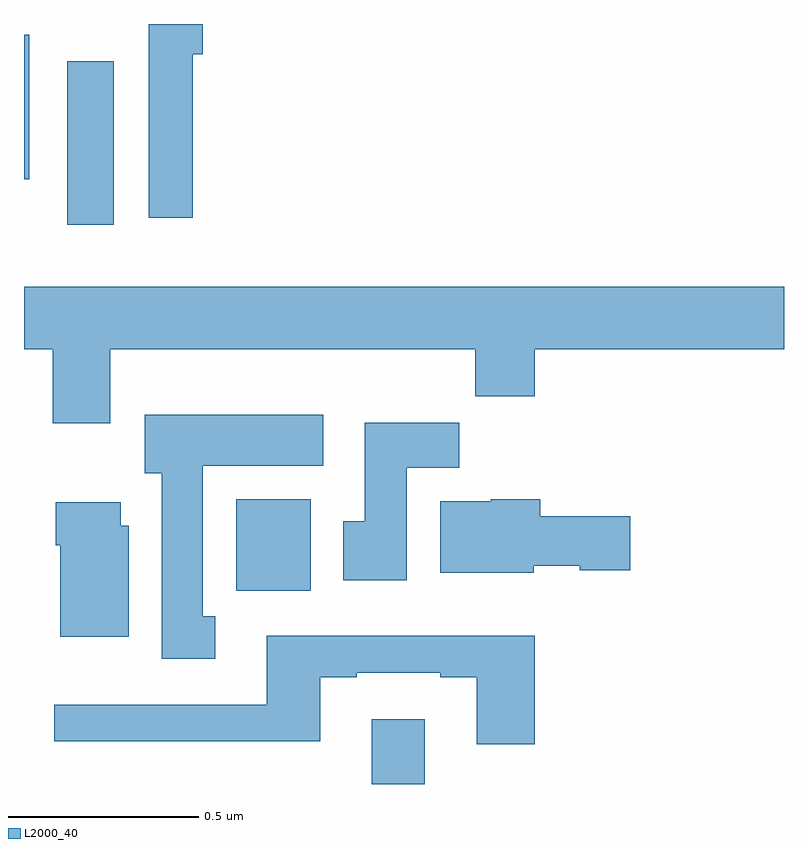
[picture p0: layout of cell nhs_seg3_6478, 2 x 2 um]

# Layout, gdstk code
import gdstk
lib = gdstk.Library(unit=1e-6, precision=1e-09)
def R(c, l, rs):  # rectangles x0, y0, x1, y1
    for r in rs: c.add(gdstk.rectangle(r[:2], r[2:], *l))
def P(c, l, *ps):  # polygons
    for p in ps: c.add(gdstk.Polygon(p, *l))
L2000_40 = (2000, 40)

nhs_seg3_6478 = lib.new_cell('nhs_seg3_6478')
R(nhs_seg3_6478, L2000_40, [(191.915,738.4,192.055,738.571), (191.558,738.908,191.755,739.15), (191.114,739.872,191.236,740.302), (191,739.992,191.014,740.372), (192.65,740.399,193,740.4)])
P(nhs_seg3_6478, L2000_40, [(191.444,740.321),(191.471,740.321),(191.471,740.4),(191.328,740.4),(191.328,739.89),(191.444,739.89)],
  [(191.227,739.544),(192.187,739.544),(192.187,739.42),(192.344,739.42),(192.344,739.544),(193,739.544),(193,739.708),(191,739.708),(191,739.544),(191.075,739.544),(191.075,739.35),(191.227,739.35)],
  [(191.503,738.842),(191.47,738.842),(191.47,739.238),(191.788,739.238),(191.788,739.372),(191.318,739.372),(191.318,739.218),(191.363,739.218),(191.363,738.729),(191.503,738.729)],
  [(192.007,739.232),(192.146,739.232),(192.146,739.351),(191.897,739.351),(191.897,739.092),(191.84,739.092),(191.84,738.936),(192.007,738.936)],
  [(192.342,738.974),(192.462,738.974),(192.462,738.962),(192.595,738.962),(192.595,739.104),(192.359,739.104),(192.359,739.15),(192.228,739.15),(192.228,739.144),(192.095,739.144),(192.095,738.956),(192.342,738.956)],
  [(191.275,739.08),(191.254,739.08),(191.254,739.141),(191.084,739.141),(191.084,739.028),(191.096,739.028),(191.096,738.788),(191.275,738.788)],
  [(192.344,738.79),(191.639,738.79),(191.639,738.609),(191.079,738.609),(191.079,738.512),(191.779,738.512),(191.779,738.681),(191.875,738.681),(191.875,738.693),(192.095,738.693),(192.095,738.681),(192.191,738.681),(192.191,738.504),(192.344,738.504)])

lib.write_gds('nhs_seg3_6478.gds')
